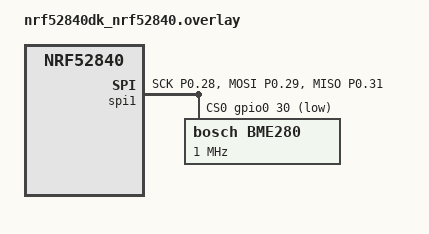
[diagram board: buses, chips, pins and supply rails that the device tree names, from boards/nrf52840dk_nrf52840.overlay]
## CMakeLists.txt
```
# SPDX-License-Identifier: Apache-2.0

# STEP 2 - Add the driver directory as a Zephyr module
list(APPEND EXTRA_ZEPHYR_MODULES
  ${CMAKE_CURRENT_SOURCE_DIR}/custom_bme280_driver
  )

cmake_minimum_required(VERSION 3.20.0)

find_package(Zephyr REQUIRED HINTS $ENV{ZEPHYR_BASE})
project(nrf_connect_sdk_intermediate)

target_sources(app PRIVATE  src/main.c)
```

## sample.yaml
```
sample:
  description: nRF Connect SDK Intermediate Course by Nordic Developer Academy (https://academy.nordicsemi.com/)
  name: nRF Connect SDK Intermediate Course (Lesson 7 - Exercise 1 Solution)
```

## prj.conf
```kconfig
#
# Copyright (c) 2024 Nordic Semiconductor ASA
#
# SPDX-License-Identifier: LicenseRef-Nordic-5-Clause
#

# Logging
CONFIG_LOG=y

# Peripherals
CONFIG_GPIO=y
CONFIG_SPI=y

# STEP 1.1 - Enable the custom driver
CONFIG_CUSTOM_BME280_DRIVER=y

# STEP 1.2 - Enable application defined syscalls
CONFIG_APPLICATION_DEFINED_SYSCALL=y
```

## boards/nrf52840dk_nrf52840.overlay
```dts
&i2c0 {	status = "disabled";};
&spi0 {	status = "disabled";};
&i2c1 {	status = "disabled";};
	
&spi1 {
    compatible = "nordic,nrf-spim";
	status = "okay";
	pinctrl-0 = <&spi1_default>;
	pinctrl-1 = <&spi1_sleep>;
	pinctrl-names = "default", "sleep";
	cs-gpios = <&gpio0 30 GPIO_ACTIVE_LOW>;
	bme280@0 {
		compatible = "bosch,bme280";
		reg = <0>;
		spi-max-frequency = <1000000>; 
	};
};

&pinctrl {
	spi1_default: spi1_default {
		group1 {
				psels = <NRF_PSEL(SPIM_SCK, 0, 28)>,
						<NRF_PSEL(SPIM_MOSI, 0, 29)>,
						<NRF_PSEL(SPIM_MISO, 0, 31)>;
		};
	};

	spi1_sleep: spi1_sleep {
		group1 {
				psels = <NRF_PSEL(SPIM_SCK, 0, 28)>,
						<NRF_PSEL(SPIM_MOSI, 0, 29)>,
						<NRF_PSEL(SPIM_MISO, 0, 31)>;
				low-power-enable;
		};
	};
};
```

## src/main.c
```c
/*
 * Copyright (c) 2019 Nordic Semiconductor
 *
 * SPDX-License-Identifier: Apache-2.0
 */

#include "custom_bme280_driver_spi.h"
#include <stdio.h>
#include <zephyr/kernel.h>

const struct device *dev;

int main(void)
{
	printk("Main started in the app!\n");

	dev = device_get_binding("CUSTOM_BME280_DRIVER");

	__ASSERT(dev, "Failed to get device binding");

	printk("device is %p, name is %s\n", dev, dev->name);

	custom_bme280_print(dev);

	while(1);
	
	return 0;
}
```
